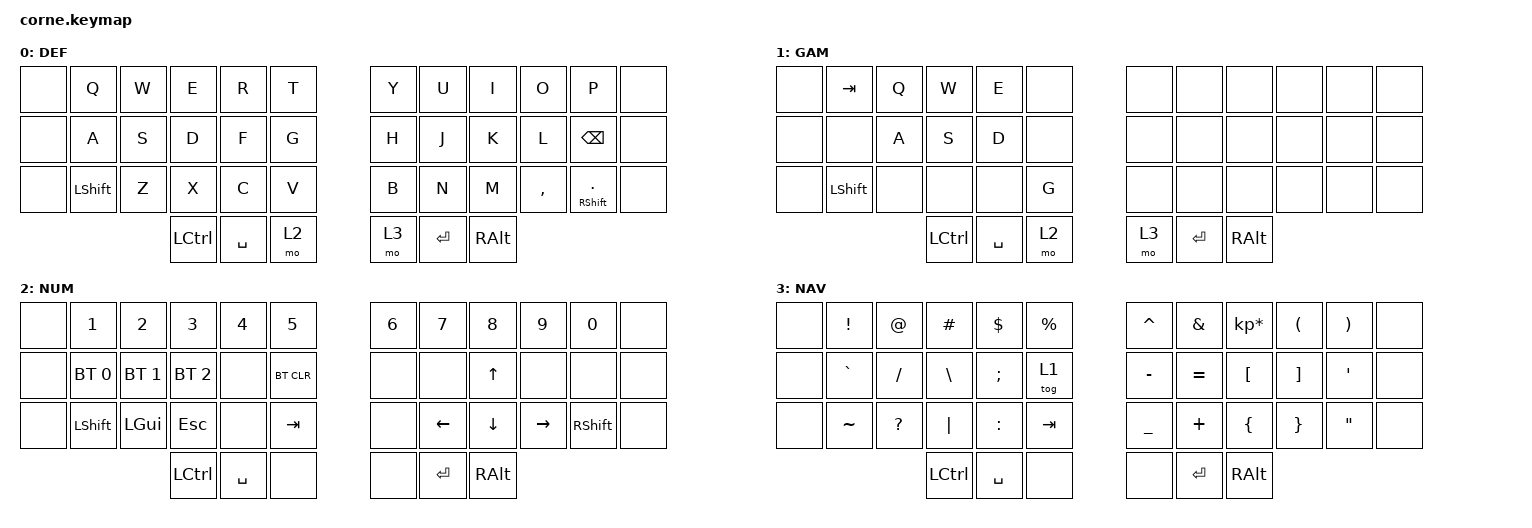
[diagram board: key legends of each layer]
/*
 * Copyright (c) 2020 The ZMK Contributors
 *
 * SPDX-License-Identifier: MIT
 */

#include <behaviors.dtsi>
#include <dt-bindings/zmk/keys.h>
#include <dt-bindings/zmk/bt.h>

#define DEF 0
#define GAM 1 
#define NUM 2
#define NAV 3

/ {
        keymap {
                compatible = "zmk,keymap";

                default_layer {
                        label = "DEF";
                        bindings = <
//  --------- --------- --------- --------- --------- ---------     --------- --------- --------- --------- --------- ---------
// |         |         |         |         |         |         |   |         |         |         |         |         |         |
// |         |    Q    |    W    |    E    |    R    |    T    |   |    Y    |    U    |    I    |    O    |    P    |         |
      &none     &kp Q     &kp W      &kp E    &kp R      &kp T         &kp Y     &kp U     &kp I     &kp O     &kp P    &none
//  --------- --------- --------- --------- --------- ---------     --------- --------- --------- --------- --------- ---------
// |         |         |         |         |         |         |   |         |         |         |         |         |         |
// |         |    A    |    S    |    D    |    F    |    G    |   |    H    |    J    |    K    |    L    |  BKSP   |         |
      &none     &kp A     &kp S     &kp D     &kp F     &kp G         &kp H     &kp J     &kp K     &kp L    &kp BSPC   &none
//  --------- --------- --------- --------- --------- ---------     --------- --------- --------- --------- --------- ---------
// |         |         |         |         |         |         |   |         |         |         |         | <SHIFT> |         |
// |         |  SHIFT  |    Z    |    X    |    C    |    V    |   |    B    |    N    |    M    |    ,    |    .    |         |
      &none   &kp LSHFT   &kp Z     &kp X     &kp C     &kp V          &kp B    &kp N     &kp M   &kp COMMA &mt RSHIFT DOT &none
//  --------- --------- --------- --------- --------- ---------     --------- --------- --------- --------- --------- ---------
//                               |         |         |         |   |         |         |         |
//                               |   CTRL  |   SPC   |   NUM   |   |   FUN   |   ENT   |   ALT   |
                                  &kp LCTRL &kp SPACE   &mo 2         &mo 3    &kp RET   &kp RALT
//                                --------- --------- ---------     --------- --------- ---------
                        >;
                };

                  gam_layer {
                        label = "GAM";
                        bindings = <
//  --------- --------- --------- --------- --------- ---------     --------- --------- --------- --------- --------- ---------
// |         |         |         |         |         |         |   |         |         |         |         |         |         |
// |         |   TAB   |    Q    |    W    |    E    |         |   |         |         |         |         |         |         |
      &none    &kp TAB    &kp Q      &kp W    &kp E     &none         &none     &none     &none     &none     &none     &none
//  --------- --------- --------- --------- --------- ---------     --------- --------- --------- --------- --------- ---------
// |         |         |         |         |         |         |   |         |         |         |         |         |         |
// |         |         |    A    |    S    |    D    |         |   |         |         |         |         |         |         |
      &none     &none     &kp A     &kp S     &kp D     &none         &none     &none     &none     &none     &none     &none
//  --------- --------- --------- --------- --------- ---------     --------- --------- --------- --------- --------- ---------
// |         |         |         |         |         |         |   |         |         |         |         |         |         |
// |         |  SHIFT  |         |         |         |    G    |   |         |         |         |         |         |         |
      &none   &kp LSHFT   &none     &none     &none     &kp G         &none     &none     &none     &none     &none     &none
//  --------- --------- --------- --------- --------- ---------     --------- --------- --------- --------- --------- ---------
//                               |         |         |         |   |         |         |         |
//                               |   CTRL  |   SPC   |   NUM   |   |   FUN   |   ENT   |   ALT   |
                                  &kp LCTRL &kp SPACE   &mo 2         &mo 3    &kp RET   &kp RALT
//                                --------- --------- ---------     --------- --------- ---------
                        >;
                };

                num_layer {
                        label = "NUM";
                        bindings = <
//  --------- --------- --------- --------- --------- ---------     --------- --------- --------- --------- --------- ---------
// |         |         |         |         |         |         |   |         |         |         |         |         |         |
// |         |    1    |    2    |    3    |    4    |    5    |   |    6    |    7    |    8    |    9    |    0    |         |
      &none     &kp N1    &kp N2    &kp N3    &kp N4    &kp N5        &kp N6    &kp N7    &kp N8    &kp N9    &kp N0    &none
//  --------- --------- --------- --------- --------- ---------     --------- --------- --------- --------- --------- ---------
// |         |         |         |         |         |         |   |         |         |         |         |         |         |
// |         |   BT1   |   BT2   |   BT3   |         |  CLEAR  |   |         |         |    UP   |         |         |         |
    &none &bt BT_SEL 0 &bt BT_SEL 1 &bt BT_SEL 2 &none &bt BT_CLR     &none     &none     &kp UP    &none     &none     &none
//  --------- --------- --------- --------- --------- ---------     --------- --------- --------- --------- --------- ---------
// |         |         |         |         |         |         |   |         |         |         |         |         |         |
// |         |  SHIFT  |   GUI   |   ESC   |         |   TAB   |   |         |    LFT  |   DWN   |   RGT   |  SHIFT  |         |
      &none   &kp LSHFT  &kp LGUI  &kp ESC    &none    &kp TAB         &none    &kp LEFT &kp DOWN  &kp RIGHT &kp RSHIFT &none
//  --------- --------- --------- --------- --------- ---------     --------- --------- --------- --------- --------- ---------
//                               |         |         |         |   |         |         |         |
//                               |   CTRL  |   SPC   |         |   |         |   ENT   |   ALT   |
                                  &kp LCTRL &kp SPACE   &none        &none     &kp RET   &kp RALT
//                                --------- --------- ---------     --------- --------- ---------
                        >;
                };

                nav_layer {
                        label = "NAV";
                        bindings = <
//  --------- --------- --------- --------- --------- ---------     --------- --------- --------- --------- --------- ---------
// |         |         |         |         |         |         |   |         |         |         |         |         |         |
// |         |    !    |    @    |    #    |    $    |    %    |   |    ^    |    &    |    *    |    (    |    )    |         |
      &none    &kp EXCL  &kp AT    &kp HASH  &kp DLLR  &kp PRCNT    &kp CARET  &kp AMPS &kp KP_MULTIPLY &kp LPAR &kp RPAR &none
//  --------- --------- --------- --------- --------- ---------     --------- --------- --------- --------- --------- ---------
// |         |         |         |         |         |         |   |         |         |         |         |         |         |
// |         |    `    |    /    |    \    |    ;    |   GAM   |   |    -    |    =    |    [    |    ]    |    '    |         |
      &none   &kp GRAVE  &kp FSLH  &kp BSLH  &kp SEMI   &tog 1       &kp MINUS &kp EQUAL  &kp LBKT  &kp RBKT  &kp SQT    &none
//  --------- --------- --------- --------- --------- ---------     --------- --------- --------- --------- --------- ---------
// |         |         |         |         |         |         |   |         |         |         |         |         |         |
// |         |    ~    |    ?    |   "|"   |    :    |   TAB   |   |    _    |    +    |    {    |    }    |    "    |         |
      &none   &kp TILDE &kp QMARK  &kp PIPE &kp COLON  &kp TAB      &kp UNDER  &kp PLUS  &kp LBRC  &kp RBRC  &kp DQT    &none
//  --------- --------- --------- --------- --------- ---------     --------- --------- --------- --------- --------- ---------
//                               |         |         |         |   |         |         |         |
//                               |   CTRL  |   SPC   |         |   |         |   ENT   |   ALT   |
                                  &kp LCTRL &kp SPACE   &none        &none     &kp RET   &kp RALT
//                                --------- --------- ---------     --------- --------- ---------
                        >;
                };


        };
};
